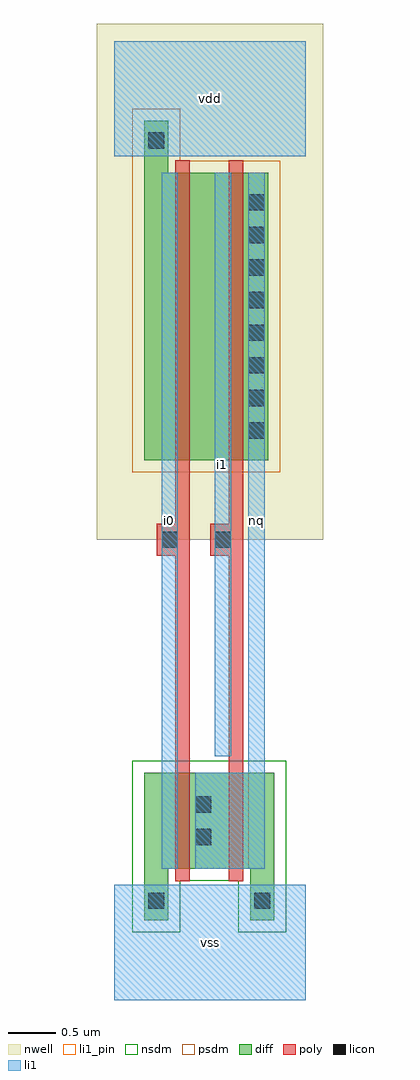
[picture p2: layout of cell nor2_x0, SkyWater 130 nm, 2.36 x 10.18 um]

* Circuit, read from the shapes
.subckt nor2_x0 i0 i1 nq vdd vss
XM1 nq i0 vss VSUBS sky130_fd_pr__nfet_01v8 w=1 l=0.15
XM2 vss i1 nq VSUBS sky130_fd_pr__nfet_01v8 w=1 l=0.15
XM3 n1 i0 vdd n2 sky130_fd_pr__pfet_01v8 w=3 l=0.15
XM4 nq i1 n1 n2 sky130_fd_pr__pfet_01v8 w=3 l=0.15
.ends

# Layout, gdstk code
import gdstk
lib = gdstk.Library(unit=1e-6, precision=1e-09)
def R(c, l, rs):  # rectangles x0, y0, x1, y1
    for r in rs: c.add(gdstk.rectangle(r[:2], r[2:], *l))
def A(c, l, x, y, w, h, nx, ny, dx, dy):  # array of equal rectangles
    R(c, l, [(x+i*dx, y+j*dy, x+i*dx+w, y+j*dy+h) for i in range(nx) for j in range(ny)])
def P(c, l, *ps):  # polygons
    for p in ps: c.add(gdstk.Polygon(p, *l))
nwell = (64, 20)
diff = (65, 20)
poly = (66, 20)
licon = (66, 44)
li1_pin = (67, 16)
li1 = (67, 20)
nsdm = (93, 44)
psdm = (94, 20)

nor2_x0 = lib.new_cell('nor2_x0')
R(nor2_x0, nwell, [(-0.18,4.8,2.18,10.18)])
P(nor2_x0, diff, [(0.315,0.83),(0.315,2.37),(1.67,2.37),(1.67,0.83),(1.42,0.83),(1.42,1.37),(0.565,1.37),(0.565,0.83)],
  [(0.315,5.63),(0.315,9.17),(0.565,9.17),(0.565,8.63),(1.61,8.63),(1.61,5.63)])
P(nor2_x0, poly, [(0.64,1.24),(0.64,4.635),(0.445,4.635),(0.445,4.965),(0.64,4.965),(0.64,8.76),(0.79,8.76),(0.79,1.24)],
  [(1.195,1.24),(1.195,4.635),(1,4.635),(1,4.965),(1.195,4.965),(1.195,8.76),(1.345,8.76),(1.345,1.24)])
A(nor2_x0, licon, 1.4, 5.855, 0.17, 0.17, 1, 8, 0, 0.34)
R(nor2_x0, licon, [(0.355,0.95,0.525,1.12), (1.46,0.95,1.63,1.12), (0.845,1.615,1.015,1.785), (0.845,1.955,1.015,2.125), (0.495,4.715,0.665,4.885), (1.05,4.715,1.22,4.885), (0.355,8.88,0.525,9.05)])
R(nor2_x0, li1_pin, [(0,0,2,1.2), (0.495,1.37,0.665,8.63), (1.4,1.37,1.57,8.63), (1.05,2.54,1.22,8.63), (0,8.8,2,10)])
R(nor2_x0, li1, [(0,0,2,1.2), (0.495,1.37,0.665,8.63), (1.05,2.54,1.22,8.63), (0,8.8,2,10)])
P(nor2_x0, li1, [(0.845,1.37),(0.845,2.37),(1.4,2.37),(1.4,8.63),(1.57,8.63),(1.57,1.37)])
P(nor2_x0, nsdm, [(0.19,0.705),(0.19,2.495),(1.795,2.495),(1.795,0.705),(1.295,0.705),(1.295,1.245),(0.69,1.245),(0.69,0.705)])
P(nor2_x0, psdm, [(0.19,5.505),(0.19,9.295),(0.69,9.295),(0.69,8.755),(1.735,8.755),(1.735,5.505)])
nor2_x0.add(gdstk.Label('vss', (1,0.6), layer=67, texttype=16))
nor2_x0.add(gdstk.Label('vdd', (1,9.4), layer=67, texttype=16))
nor2_x0.add(gdstk.Label('nq', (1.485,5), layer=67, texttype=16))
nor2_x0.add(gdstk.Label('i0', (0.58,5), layer=67, texttype=16))
nor2_x0.add(gdstk.Label('i1', (1.135,5.585), layer=67, texttype=16))
nor2_x0.add(gdstk.Label('vss', (1,0.6), layer=67, texttype=16))
nor2_x0.add(gdstk.Label('vdd', (1,9.4), layer=67, texttype=16))
nor2_x0.add(gdstk.Label('nq', (1.485,5), layer=67, texttype=16))
nor2_x0.add(gdstk.Label('i0', (0.58,5), layer=67, texttype=16))
nor2_x0.add(gdstk.Label('i1', (1.135,5.585), layer=67, texttype=16))

lib.write_gds('nor2_x0.gds')
